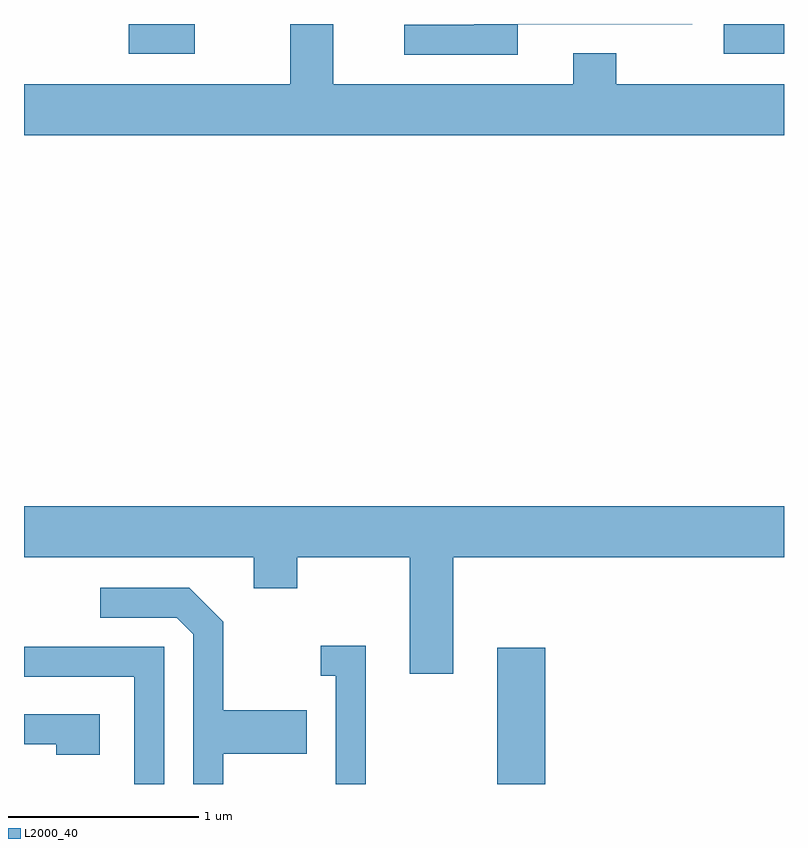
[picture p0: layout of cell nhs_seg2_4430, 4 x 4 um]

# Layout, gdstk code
import gdstk
lib = gdstk.Library(unit=1e-6, precision=1e-09)
def R(c, l, rs):  # rectangles x0, y0, x1, y1
    for r in rs: c.add(gdstk.rectangle(r[:2], r[2:], *l))
def P(c, l, *ps):  # polygons
    for p in ps: c.add(gdstk.Polygon(p, *l))
L2000_40 = (2000, 40)

nhs_seg2_4430 = lib.new_cell('nhs_seg2_4430')
R(nhs_seg2_4430, L2000_40, [(318.101,1033.802,318.354,1034.519), (316.163,1037.646,316.509,1037.802), (319.293,1037.646,319.611,1037.802)])
P(nhs_seg2_4430, L2000_40, [(319.611,1037.484),(318.729,1037.484),(318.729,1037.649),(318.501,1037.649),(318.501,1037.484),(317.239,1037.484),(317.239,1037.802),(317.011,1037.802),(317.011,1037.484),(315.611,1037.484),(315.611,1037.216),(319.611,1037.216)],
  [(318.209,1037.801),(319.129,1037.801),(319.129,1037.802),(317.981,1037.802),(317.981,1037.799),(317.613,1037.799),(317.613,1037.641),(318.209,1037.641)],
  [(317.869,1034.996),(319.611,1034.996),(319.611,1035.264),(315.611,1035.264),(315.611,1034.996),(316.821,1034.996),(316.821,1034.831),(317.049,1034.831),(317.049,1034.996),(317.641,1034.996),(317.641,1034.381),(317.869,1034.381)],
  [(316.659,1033.961),(317.099,1033.961),(317.099,1034.189),(316.659,1034.189),(316.659,1034.657),(316.482,1034.834),(316.013,1034.834),(316.013,1034.676),(316.414,1034.676),(316.501,1034.589),(316.501,1033.802),(316.659,1033.802)],
  [(317.409,1034.529),(317.173,1034.529),(317.173,1034.371),(317.251,1034.371),(317.251,1033.802),(317.409,1033.802)],
  [(316.349,1034.524),(315.611,1034.524),(315.611,1034.366),(316.191,1034.366),(316.191,1033.802),(316.349,1033.802)],
  [(316.009,1034.169),(315.611,1034.169),(315.611,1034.011),(315.781,1034.011),(315.781,1033.956),(316.009,1033.956)])

lib.write_gds('nhs_seg2_4430.gds')
